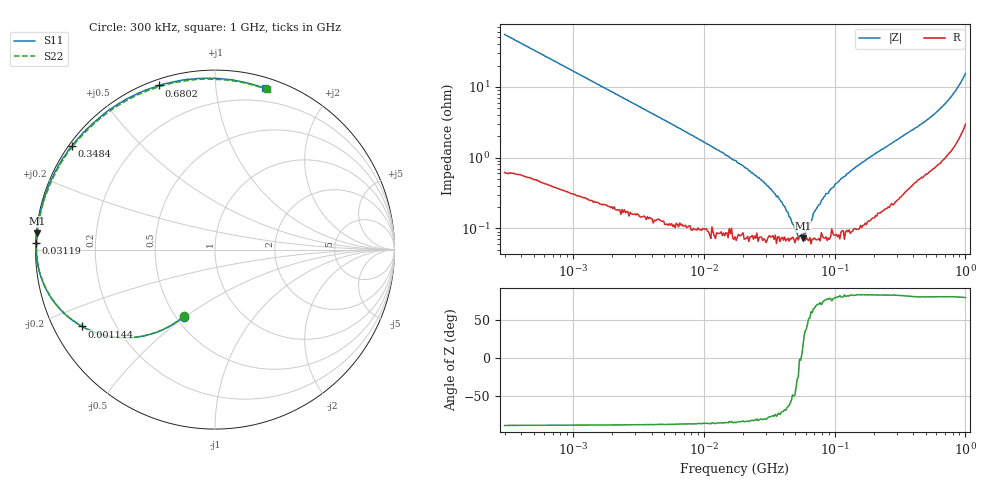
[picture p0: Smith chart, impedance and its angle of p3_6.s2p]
#  HZ  S  RI  R  50
! Rohde & Schwarz ZVA/B
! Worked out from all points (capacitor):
!   401 points, 300 kHz to 1 GHz, reference 50 ohm
!   read as one part in shunt: C = 9.59 nF near 312.4 kHz
!   lowest |Z| = 72.1 mohm at 57.3 MHz (marker M1)
!   series resonance near 55.55 MHz, so ESL is about 860 pH
!   S11 on the Smith chart (normalised r, x): 300 kHz: 0.55, -0.49; 1.144 MHz: 0.08, -0.27; 31.19 MHz: 0.00, +0.02; 348.4 MHz: 0.01, +0.32; 680.2 MHz: 0.03, +0.71; 1 GHz: 0.09, +1.35
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300000  -0.1751 -0.374  0.8281 -0.3731  0.8288 -0.3741  -0.1746 -0.3722
610060.8  -0.4567 -0.4897  0.5439 -0.4914  0.5438 -0.4918  -0.4558 -0.4891
1143922  -0.7403 -0.4284  0.2593 -0.4296  0.2594 -0.4305  -0.7405 -0.4275
1167356  -0.7479 -0.424  0.2523 -0.4258  0.2524 -0.4257  -0.7474 -0.4235
2101901  -0.9017 -0.2832  0.0977 -0.2871  0.0982 -0.2873  -0.9009 -0.2844
4542403  -0.9755 -0.1377  0.0257 -0.1446  0.0254 -0.1447  -0.9739 -0.1366
1.732051e7  -0.9969 -0.00742  0.00332 -0.0361  0.00321 -0.036  -0.9944 -0.00845
3.118669e7  -0.9974 0.0363  0.00248 -0.0155  0.00232 -0.0154  -0.9939 0.0359
4.05941e7  -0.9952 0.0564  0.00225 -0.008  0.00254 -0.00797  -0.9937 0.0593
5.177848e7  -0.9924 0.0811  0.00281 -0.00184  0.00251 -0.00163  -0.9888 0.0829
5.392171e7  -0.9928 0.0837  0.00308 -0.00038  0.00255 -0.000976  -0.9908 0.0867
5.730404e7  -0.9908 0.0914  0.00282 0.000492  0.00267 0.000612  -0.9894 0.0943
5.967599e7  -0.9918 0.096  0.00288 0.00163  0.00268 0.00141  -0.9891 0.0991
6.739735e7  -0.9879 0.1112  0.00331 0.00433  0.00371 0.00445  -0.9875 0.1144
8.254956e7  -0.9859 0.1396  0.00437 0.0101  0.00459 0.01  -0.984 0.1423
1.118981e8  -0.9759 0.1967  0.00731 0.0186  0.00716 0.0181  -0.9728 0.1989
2.622557e8  -0.8805 0.449  0.0321 0.0466  0.0317 0.0464  -0.874 0.4539
3.48358e8  -0.7967 0.5785  0.0536 0.0539  0.0535 0.0539  -0.7879 0.5825
5.018285e8  -0.6013 0.7705  0.0927 0.0496  0.0927 0.0498  -0.5907 0.7692
6.802417e8  -0.3128 0.9144  0.1366 0.0238  0.1367 0.0241  -0.3012 0.9109
8.331731e8  -0.0318 0.9548  0.167 -0.0188  0.167 -0.0187  -0.0218 0.9491
1e9  0.277 0.899  0.1806 -0.0847  0.1809 -0.084  0.2877 0.893
